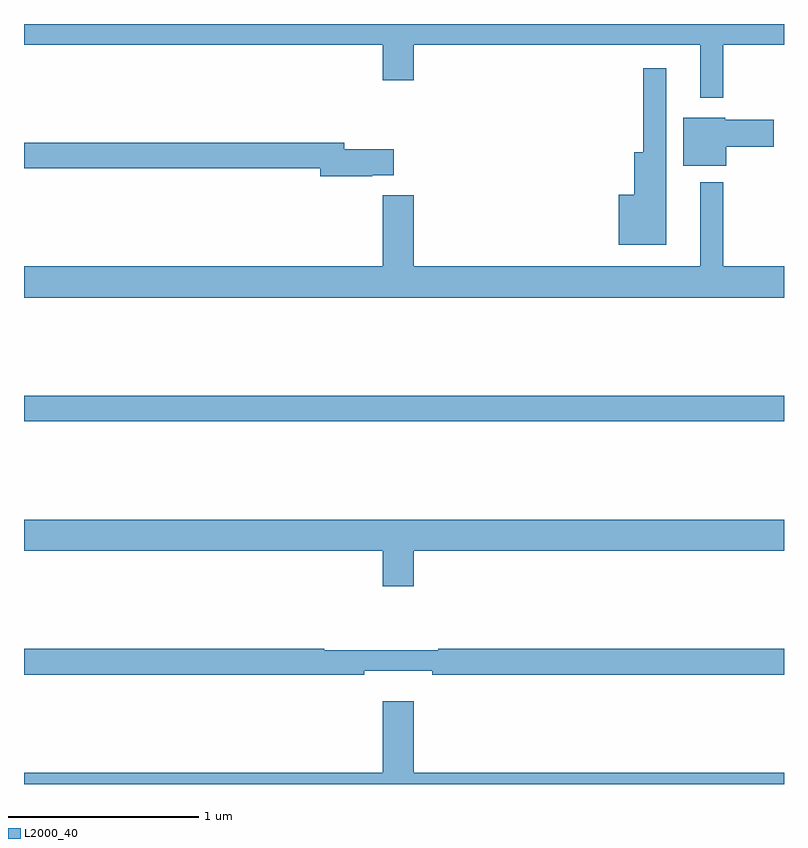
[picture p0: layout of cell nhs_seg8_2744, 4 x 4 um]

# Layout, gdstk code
import gdstk
lib = gdstk.Library(unit=1e-6, precision=1e-09)
def R(c, l, rs):  # rectangles x0, y0, x1, y1
    for r in rs: c.add(gdstk.rectangle(r[:2], r[2:], *l))
def P(c, l, *ps):  # polygons
    for p in ps: c.add(gdstk.Polygon(p, *l))
L2000_40 = (2000, 40)

nhs_seg8_2744 = lib.new_cell('nhs_seg8_2744')
R(nhs_seg8_2744, L2000_40, [(283,1155.808,287,1155.944)])
P(nhs_seg8_2744, L2000_40, [(286.681,1157.792),(287,1157.792),(287,1157.9),(283,1157.9),(283,1157.792),(284.888,1157.792),(284.888,1157.604),(285.052,1157.604),(285.052,1157.792),(286.559,1157.792),(286.559,1157.511),(286.681,1157.511)],
  [(286.381,1157.668),(286.26,1157.668),(286.26,1157.224),(286.211,1157.224),(286.211,1157.002),(286.13,1157.002),(286.13,1156.739),(286.381,1156.739)],
  [(286.696,1157.255),(286.945,1157.255),(286.945,1157.397),(286.692,1157.397),(286.692,1157.407),(286.469,1157.407),(286.469,1157.153),(286.696,1157.153)],
  [(284.834,1157.105),(284.947,1157.105),(284.947,1157.24),(284.686,1157.24),(284.686,1157.276),(283,1157.276),(283,1157.14),(284.558,1157.14),(284.558,1157.098),(284.834,1157.098)],
  [(287,1156.624),(286.681,1156.624),(286.681,1157.068),(286.559,1157.068),(286.559,1156.624),(285.052,1156.624),(285.052,1156.999),(284.888,1156.999),(284.888,1156.624),(283,1156.624),(283,1156.46),(287,1156.46)],
  [(285.052,1155.128),(287,1155.128),(287,1155.292),(283,1155.292),(283,1155.128),(284.888,1155.128),(284.888,1154.94),(285.052,1154.94)],
  [(284.792,1154.495),(285.148,1154.495),(285.148,1154.476),(287,1154.476),(287,1154.612),(285.179,1154.612),(285.179,1154.605),(284.579,1154.605),(284.579,1154.612),(283,1154.612),(283,1154.476),(284.792,1154.476)],
  [(287,1153.96),(285.052,1153.96),(285.052,1154.335),(284.888,1154.335),(284.888,1153.96),(283,1153.96),(283,1153.9),(287,1153.9)])

lib.write_gds('nhs_seg8_2744.gds')
